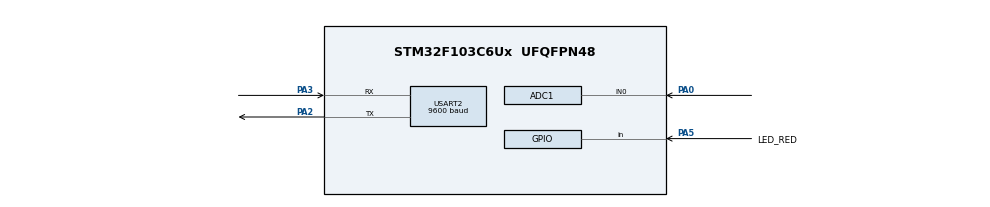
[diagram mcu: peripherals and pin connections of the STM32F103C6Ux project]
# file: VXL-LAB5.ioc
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ADC1.Channel-1\#ChannelRegularConversion=ADC_CHANNEL_0
ADC1.NbrOfConversionFlag=1
ADC1.Rank-1\#ChannelRegularConversion=1
ADC1.SamplingTime-1\#ChannelRegularConversion=ADC_SAMPLETIME_1CYCLE_5
ADC1.master=1
Mcu.Family=STM32F1
Mcu.Name=STM32F103C6Ux
Mcu.Package=UFQFPN48
NVIC.PriorityGroup=NVIC_PRIORITYGROUP_4
NVIC.TIM2_IRQn=true\:0\:0\:false\:false\:true\:true\:true
NVIC.USART2_IRQn=true\:0\:0\:false\:false\:true\:true\:true
PA0-WKUP.Signal=ADCx_IN0
PA2.Mode=Asynchronous
PA2.Signal=USART2_TX
PA3.Mode=Asynchronous
PA3.Signal=USART2_RX
PA5.GPIO_Label=LED_RED
PA5.Signal=GPIO_Input
ProjectManager.HeapSize=0x200
ProjectManager.StackSize=0x400
ProjectManager.TargetToolchain=STM32CubeIDE
RCC.APB1Freq_Value=8000000
RCC.APB2Freq_Value=8000000
SH.ADCx_IN0.0=ADC1_IN0,IN0
TIM2.Period=9
TIM2.Prescaler=7999
USART2.BaudRate=9600
USART2.VirtualMode=VM_ASYNC
VP_SYS_VS_ND.Mode=No_Debug
VP_TIM2_VS_ClockSourceINT.Mode=Internal
board=custom

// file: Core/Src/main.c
/* USER CODE BEGIN Header */
/**
  ******************************************************************************
  * @file           : main.c
  * @brief          : Main program body
  ******************************************************************************
  * @attention
  *
  * <h2><center>&copy; Copyright (c) 2024 STMicroelectronics.
  * All rights reserved.</center></h2>
  *
  * This software component is licensed by ST under BSD 3-Clause license,
  * the "License"; You may not use this file except in compliance with the
  * License. You may obtain a copy of the License at:
  *                        opensource.org/licenses/BSD-3-Clause
  *
  ******************************************************************************
  */
/* USER CODE END Header */
#include "main.h"

/* USER CODE BEGIN Includes */
#include "uart_com.h"
#include "command_read.h"
#include "global.h"
/* USER CODE END Includes */

ADC_HandleTypeDef hadc1;

TIM_HandleTypeDef htim2;

UART_HandleTypeDef huart2;

void SystemClock_Config(void);
static void MX_GPIO_Init(void);
static void MX_ADC1_Init(void);
static void MX_USART2_UART_Init(void);
static void MX_TIM2_Init(void);

/* USER CODE BEGIN 0 */
void HAL_UART_RxCpltCallback(UART_HandleTypeDef * huart) {
	if(huart->Instance == USART2){
		buffer_flag = 1;
		HAL_UART_Transmit(&huart2, &cursor, 1, 50);
		HAL_UART_Receive_IT(&huart2, &cursor, 1);
	}
}
/* USER CODE END 0 */

int main(void)
{

  /* MCU Configuration--------------------------------------------------------*/

  /* Reset of all peripherals, Initializes the Flash interface and the Systick. */
  HAL_Init();

  /* Configure the system clock */
  SystemClock_Config();

  /* Initialize all configured peripherals */
  MX_GPIO_Init();
  MX_ADC1_Init();
  MX_USART2_UART_Init();
  MX_TIM2_Init();
  /* USER CODE BEGIN 2 */
  HAL_TIM_Base_Start_IT(&htim2);
  HAL_UART_Receive_IT(&huart2, &cursor, 1);
  /* USER CODE END 2 */

  /* Infinite loop */
  /* USER CODE BEGIN WHILE */
  setTimer(0, 1000);
  while (1)
  {
	  if (getFlag(0) == 1) {
	  		  HAL_GPIO_TogglePin(LED_RED_GPIO_Port, LED_RED_Pin);
	  		  setTimer(0, 1000);
	  }
	  if (buffer_flag == 1) {
	  		  command_read_fsm();
	  		  buffer_flag = 0;
	  }
	  uart_com_fsm(hadc1,huart2);
    /* USER CODE END WHILE */

  }
}

void SystemClock_Config(void)
{
  RCC_OscInitTypeDef RCC_OscInitStruct = {0};
  RCC_ClkInitTypeDef RCC_ClkInitStruct = {0};
  RCC_PeriphCLKInitTypeDef PeriphClkInit = {0};

  /** Initializes the RCC Oscillators according to the specified parameters
  * in the RCC_OscInitTypeDef structure.
  */
  RCC_OscInitStruct.OscillatorType = RCC_OSCILLATORTYPE_HSI;
  RCC_OscInitStruct.HSIState = RCC_HSI_ON;
  RCC_OscInitStruct.HSICalibrationValue = RCC_HSICALIBRATION_DEFAULT;
  RCC_OscInitStruct.PLL.PLLState = RCC_PLL_NONE;
  if (HAL_RCC_OscConfig(&RCC_OscInitStruct) != HAL_OK)
  {
    Error_Handler();
  }
  /** Initializes the CPU, AHB and APB buses clocks
  */
  RCC_ClkInitStruct.ClockType = RCC_CLOCKTYPE_HCLK|RCC_CLOCKTYPE_SYSCLK
                              |RCC_CLOCKTYPE_PCLK1|RCC_CLOCKTYPE_PCLK2;
  RCC_ClkInitStruct.SYSCLKSource = RCC_SYSCLKSOURCE_HSI;
  RCC_ClkInitStruct.AHBCLKDivider = RCC_SYSCLK_DIV1;
  RCC_ClkInitStruct.APB1CLKDivider = RCC_HCLK_DIV1;
  RCC_ClkInitStruct.APB2CLKDivider = RCC_HCLK_DIV1;

  if (HAL_RCC_ClockConfig(&RCC_ClkInitStruct, FLASH_LATENCY_0) != HAL_OK)
  {
    Error_Handler();
  }
  PeriphClkInit.PeriphClockSelection = RCC_PERIPHCLK_ADC;
  PeriphClkInit.AdcClockSelection = RCC_ADCPCLK2_DIV2;
  if (HAL_RCCEx_PeriphCLKConfig(&PeriphClkInit) != HAL_OK)
  {
    Error_Handler();
  }
}

static void MX_ADC1_Init(void)
{

  ADC_ChannelConfTypeDef sConfig = {0};

  /** Common config
  */
  hadc1.Instance = ADC1;
  hadc1.Init.ScanConvMode = ADC_SCAN_DISABLE;
  hadc1.Init.ContinuousConvMode = DISABLE;
  hadc1.Init.DiscontinuousConvMode = DISABLE;
  hadc1.Init.ExternalTrigConv = ADC_SOFTWARE_START;
  hadc1.Init.DataAlign = ADC_DATAALIGN_RIGHT;
  hadc1.Init.NbrOfConversion = 1;
  if (HAL_ADC_Init(&hadc1) != HAL_OK)
  {
    Error_Handler();
  }
  /** Configure Regular Channel
  */
  sConfig.Channel = ADC_CHANNEL_0;
  sConfig.Rank = ADC_REGULAR_RANK_1;
  sConfig.SamplingTime = ADC_SAMPLETIME_1CYCLE_5;
  if (HAL_ADC_ConfigChannel(&hadc1, &sConfig) != HAL_OK)
  {
    Error_Handler();
  }

}

static void MX_TIM2_Init(void)
{

  TIM_ClockConfigTypeDef sClockSourceConfig = {0};
  TIM_MasterConfigTypeDef sMasterConfig = {0};

  htim2.Instance = TIM2;
  htim2.Init.Prescaler = 7999;
  htim2.Init.CounterMode = TIM_COUNTERMODE_UP;
  htim2.Init.Period = 9;
  htim2.Init.ClockDivision = TIM_CLOCKDIVISION_DIV1;
  htim2.Init.AutoReloadPreload = TIM_AUTORELOAD_PRELOAD_DISABLE;
  if (HAL_TIM_Base_Init(&htim2) != HAL_OK)
  {
    Error_Handler();
  }
  sClockSourceConfig.ClockSource = TIM_CLOCKSOURCE_INTERNAL;
  if (HAL_TIM_ConfigClockSource(&htim2, &sClockSourceConfig) != HAL_OK)
  {
    Error_Handler();
  }
  sMasterConfig.MasterOutputTrigger = TIM_TRGO_RESET;
  sMasterConfig.MasterSlaveMode = TIM_MASTERSLAVEMODE_DISABLE;
  if (HAL_TIMEx_MasterConfigSynchronization(&htim2, &sMasterConfig) != HAL_OK)
  {
    Error_Handler();
  }

}

static void MX_USART2_UART_Init(void)
{

  huart2.Instance = USART2;
  huart2.Init.BaudRate = 9600;
  huart2.Init.WordLength = UART_WORDLENGTH_8B;
  huart2.Init.StopBits = UART_STOPBITS_1;
  huart2.Init.Parity = UART_PARITY_NONE;
  huart2.Init.Mode = UART_MODE_TX_RX;
  huart2.Init.HwFlowCtl = UART_HWCONTROL_NONE;
  huart2.Init.OverSampling = UART_OVERSAMPLING_16;
  if (HAL_UART_Init(&huart2) != HAL_OK)
  {
    Error_Handler();
  }

}

static void MX_GPIO_Init(void)
{
  GPIO_InitTypeDef GPIO_InitStruct = {0};

  /* GPIO Ports Clock Enable */
  __HAL_RCC_GPIOA_CLK_ENABLE();

  /*Configure GPIO pin : LED_RED_Pin */
  GPIO_InitStruct.Pin = LED_RED_Pin;
  GPIO_InitStruct.Mode = GPIO_MODE_INPUT;
  GPIO_InitStruct.Pull = GPIO_NOPULL;
  HAL_GPIO_Init(LED_RED_GPIO_Port, &GPIO_InitStruct);

}

/* USER CODE BEGIN 4 */
void HAL_TIM_PeriodElapsedCallback(TIM_HandleTypeDef *htim){
	timerRun();
}
/* USER CODE END 4 */

void Error_Handler(void)
{
  __disable_irq();
  while (1)
  {
  }
}

/************************ (C) COPYRIGHT STMicroelectronics *****END OF FILE****/
